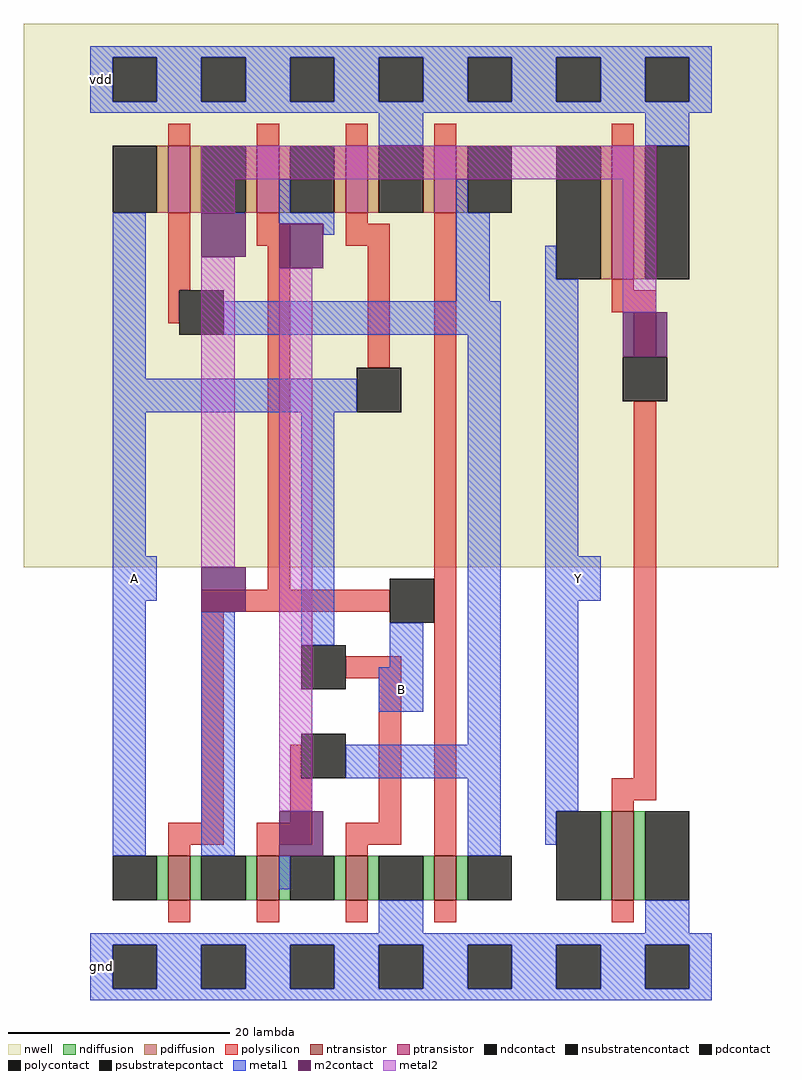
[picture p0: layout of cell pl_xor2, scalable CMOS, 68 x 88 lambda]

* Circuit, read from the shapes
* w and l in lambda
.subckt pl_xor2 A B Y vdd gnd
M1 n1 B A gnd nfet w=4 l=2
M2 n2 n3 n1 gnd nfet w=4 l=2
M3 gnd A n2 gnd nfet w=4 l=2
M4 n3 B gnd gnd nfet w=4 l=2
M5 gnd n1 Y gnd nfet w=8 l=2
M6 n1 n3 A vdd pfet w=6 l=2
M7 n2 B n1 vdd pfet w=6 l=2
M8 vdd A n2 vdd pfet w=6 l=2
M9 n3 B vdd vdd pfet w=6 l=2
M10 vdd n1 Y vdd pfet w=12 l=2
.ends

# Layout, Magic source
magic
tech scmos
<< nwell >>
rect -6 36 62 85
<< ndiffusion >>
rect 6 6 7 10
rect 9 6 10 10
rect 14 6 15 10
rect 17 6 18 10
rect 22 6 23 10
rect 25 6 26 10
rect 30 6 31 10
rect 33 6 34 10
rect 46 6 47 14
rect 49 6 50 14
<< pdiffusion >>
rect 46 62 47 74
rect 49 62 50 74
rect 6 68 7 74
rect 9 68 10 74
rect 14 68 15 74
rect 17 68 18 74
rect 22 68 23 74
rect 25 68 26 74
rect 30 68 31 74
rect 33 68 34 74
<< polysilicon >>
rect 7 4 9 6
rect 15 4 17 6
rect 23 4 25 6
rect 31 4 33 6
rect 47 4 49 6
rect 7 10 9 11
rect 15 10 17 11
rect 23 10 25 11
rect 31 10 33 68
rect 7 11 12 13
rect 15 11 20 13
rect 23 11 28 13
rect 10 13 12 32
rect 18 13 20 17
rect 26 13 28 26
rect 47 14 49 15
rect 47 15 51 17
rect 18 17 19 20
rect 49 17 51 51
rect 23 26 28 28
rect 10 32 27 34
rect 16 34 18 65
rect 25 54 27 65
rect 49 55 51 59
rect 7 58 8 61
rect 47 59 51 61
rect 7 61 9 68
rect 47 61 49 62
rect 15 65 18 67
rect 23 65 27 67
rect 15 67 17 68
rect 23 67 25 68
rect 7 74 9 76
rect 15 74 17 76
rect 23 74 25 76
rect 31 74 33 76
rect 47 74 49 76
<< ntransistor >>
rect 7 6 9 10
rect 15 6 17 10
rect 23 6 25 10
rect 31 6 33 10
rect 47 6 49 14
<< ptransistor >>
rect 47 62 49 74
rect 7 68 9 74
rect 15 68 17 74
rect 23 68 25 74
rect 31 68 33 74
<< ndcontact >>
rect 2 6 6 10
rect 10 6 14 10
rect 18 6 22 10
rect 26 6 30 10
rect 34 6 38 10
rect 42 6 46 14
rect 50 6 54 14
<< pdcontact >>
rect 42 62 46 74
rect 50 62 54 74
rect 2 68 6 74
rect 10 68 14 74
rect 18 68 22 74
rect 26 68 30 74
rect 34 68 38 74
<< polycontact >>
rect 19 17 23 21
rect 19 25 23 29
rect 27 31 31 35
rect 24 50 28 54
rect 48 51 52 55
rect 8 57 12 61
<< psubstratepcontact >>
rect 2 -2 6 2
rect 10 -2 14 2
rect 18 -2 22 2
rect 26 -2 30 2
rect 34 -2 38 2
rect 42 -2 46 2
rect 50 -2 54 2
<< nsubstratencontact >>
rect 2 78 6 82
rect 10 78 14 82
rect 18 78 22 82
rect 26 78 30 82
rect 34 78 38 82
rect 42 78 46 82
rect 50 78 54 82
<< metal1 >>
rect 0 -3 56 -2
rect 0 -2 2 2
rect 6 -2 10 2
rect 14 -2 18 2
rect 22 -2 26 2
rect 30 -2 34 2
rect 38 -2 42 2
rect 46 -2 50 2
rect 54 -2 56 2
rect 0 2 56 3
rect 26 3 30 6
rect 50 3 54 6
rect 17 7 18 10
rect 2 10 5 33
rect 10 10 13 32
rect 34 10 37 17
rect 41 11 42 14
rect 41 14 44 33
rect 23 17 37 20
rect 34 20 37 57
rect 26 23 30 27
rect 27 27 30 31
rect 19 29 22 50
rect 2 33 6 37
rect 41 33 46 37
rect 2 37 5 50
rect 41 37 44 62
rect 2 50 24 53
rect 2 53 5 68
rect 12 57 37 60
rect 33 60 36 68
rect 41 62 42 65
rect 21 66 22 67
rect 17 67 22 68
rect 17 68 18 71
rect 33 68 34 71
rect 26 74 30 77
rect 50 74 54 77
rect 0 77 56 78
rect 0 78 2 82
rect 6 78 10 82
rect 14 78 18 82
rect 22 78 26 82
rect 30 78 34 82
rect 38 78 42 82
rect 46 78 50 82
rect 54 78 56 82
rect 0 82 56 83
<< m2contact >>
rect 17 10 21 14
rect 10 32 14 36
rect 48 55 52 59
rect 17 63 21 67
rect 10 64 14 68
<< metal2 >>
rect 17 14 20 63
rect 10 36 13 64
rect 48 59 51 71
rect 10 68 13 71
rect 10 71 51 74
<< labels >>
rlabel metal1 s 2 33 6 37 0 A
port 1 nsew signal input
rlabel metal1 s 26 23 30 27 0 B
port 2 nsew signal input
rlabel metal1 s 42 33 46 37 0 Y
port 3 nsew signal output
rlabel metal1 s 0 77 2 83 0 vdd
port 4 nsew power bidirectional
rlabel metal1 s 0 -3 2 3 0 gnd
port 5 nsew ground bidirectional
<< properties >>
string FIXED_BBOX 0 0 56 80
<< end >>
